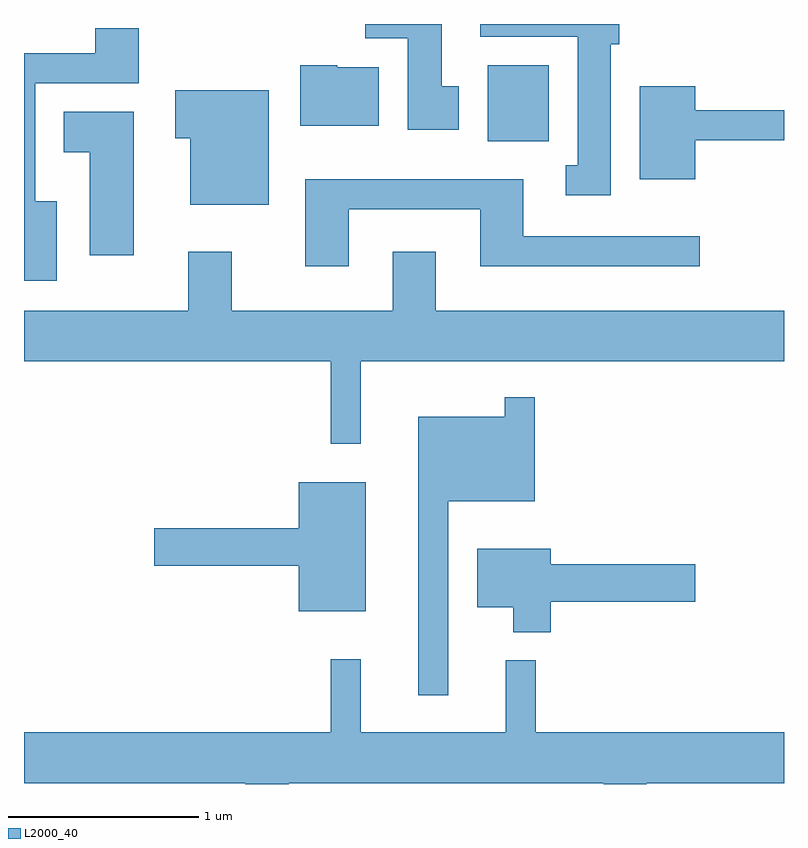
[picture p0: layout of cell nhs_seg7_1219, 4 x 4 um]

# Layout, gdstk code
import gdstk
lib = gdstk.Library(unit=1e-6, precision=1e-09)
def R(c, l, rs):  # rectangles x0, y0, x1, y1
    for r in rs: c.add(gdstk.rectangle(r[:2], r[2:], *l))
def P(c, l, *ps):  # polygons
    for p in ps: c.add(gdstk.Polygon(p, *l))
L2000_40 = (2000, 40)

nhs_seg7_1219 = lib.new_cell('nhs_seg7_1219')
R(nhs_seg7_1219, L2000_40, [(224.051,1777.636,224.374,1778.034)])
P(nhs_seg7_1219, L2000_40, [(224.699,1778.146),(224.744,1778.146),(224.744,1778.252),(224.011,1778.252),(224.011,1778.186),(224.526,1778.186),(224.526,1777.509),(224.463,1777.509),(224.463,1777.351),(224.699,1777.351)],
  [(223.899,1777.924),(223.809,1777.924),(223.809,1778.252),(223.406,1778.252),(223.406,1778.176),(223.631,1778.176),(223.631,1777.696),(223.899,1777.696)],
  [(221.784,1777.319),(221.669,1777.319),(221.669,1777.941),(222.214,1777.941),(222.214,1778.229),(221.986,1778.229),(221.986,1778.099),(221.611,1778.099),(221.611,1776.901),(221.784,1776.901)],
  [(223.479,1778.024),(223.26,1778.024),(223.26,1778.034),(223.066,1778.034),(223.066,1777.716),(223.479,1777.716)],
  [(225.144,1777.641),(225.611,1777.641),(225.611,1777.799),(225.144,1777.799),(225.144,1777.924),(224.851,1777.924),(224.851,1777.436),(225.144,1777.436)],
  [(222.899,1777.904),(222.406,1777.904),(222.406,1777.651),(222.486,1777.651),(222.486,1777.301),(222.899,1777.301)],
  [(222.189,1777.789),(221.821,1777.789),(221.821,1777.576),(221.956,1777.576),(221.956,1777.036),(222.189,1777.036)],
  [(223.319,1777.276),(224.011,1777.276),(224.011,1776.976),(225.168,1776.976),(225.168,1777.134),(224.239,1777.134),(224.239,1777.434),(223.091,1777.434),(223.091,1776.976),(223.319,1776.976)],
  [(223.384,1776.476),(225.611,1776.476),(225.611,1776.744),(223.779,1776.744),(223.779,1777.054),(223.551,1777.054),(223.551,1776.744),(222.704,1776.744),(222.704,1777.054),(222.476,1777.054),(222.476,1776.744),(221.611,1776.744),(221.611,1776.476),(223.226,1776.476),(223.226,1776.043),(223.384,1776.043)],
  [(223.844,1775.741),(224.299,1775.741),(224.299,1776.288),(224.141,1776.288),(224.141,1776.184),(223.686,1776.184),(223.686,1774.718),(223.844,1774.718)],
  [(223.409,1775.839),(223.056,1775.839),(223.056,1775.599),(222.296,1775.599),(222.296,1775.401),(223.056,1775.401),(223.056,1775.161),(223.409,1775.161)],
  [(224.384,1775.211),(225.144,1775.211),(225.144,1775.409),(224.384,1775.409),(224.384,1775.489),(223.996,1775.489),(223.996,1775.181),(224.186,1775.181),(224.186,1775.051),(224.384,1775.051)],
  [(223.004,1774.256),(224.661,1774.256),(224.661,1774.252),(224.889,1774.252),(224.889,1774.256),(225.611,1774.256),(225.611,1774.524),(224.304,1774.524),(224.304,1774.903),(224.146,1774.903),(224.146,1774.524),(223.384,1774.524),(223.384,1774.908),(223.226,1774.908),(223.226,1774.524),(221.611,1774.524),(221.611,1774.256),(222.776,1774.256),(222.776,1774.252),(223.004,1774.252)])

lib.write_gds('nhs_seg7_1219.gds')
